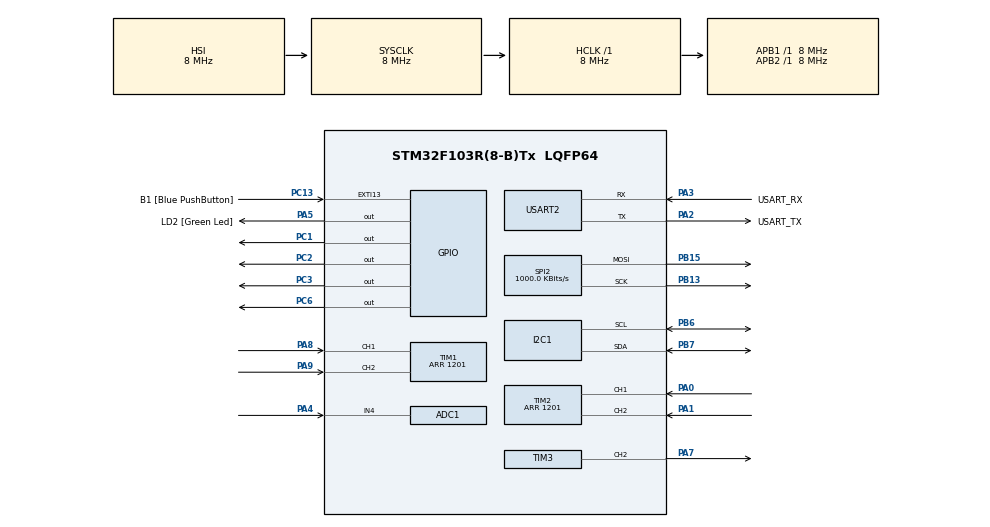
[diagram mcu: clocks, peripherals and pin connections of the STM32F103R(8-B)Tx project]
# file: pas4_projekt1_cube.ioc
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Mcu.Family=STM32F1
PA2.GPIO_PuPd=GPIO_NOPULL
SPI2.VirtualType=VM_MASTER
ADC1.ContinuousConvMode=ENABLE
PA14.GPIO_Label=TCK
PA3.GPIO_PuPd=GPIO_NOPULL
PA2.GPIO_Speed=GPIO_SPEED_FREQ_LOW
TIM1.EncoderMode=TIM_ENCODERMODE_TI12
TIM2.EncoderMode=TIM_ENCODERMODE_TI12
PA3.GPIO_Speed=GPIO_SPEED_FREQ_LOW
PB13.Signal=SPI2_SCK
PB15.Signal=SPI2_MOSI
ProjectManager.StackSize=0x400
PD1-OSC_OUT.Signal=RCC_OSC_OUT
RCC.HCLKFreq_Value=8000000
RCC.APB2TimFreq_Value=8000000
TIM3.Period=999
PB6.Signal=I2C1_SCL
PB6.Mode=I2C
PC3.Signal=GPIO_Output
RCC.AHBFreq_Value=8000000
SPI2.BaudRatePrescaler=SPI_BAUDRATEPRESCALER_8
NVIC.EXTI15_10_IRQn=true\:0\:0\:false\:false\:true\:true\:true
ADC1.Channel-0\#ChannelRegularConversion=ADC_CHANNEL_4
RCC.RTCClockSelection=RCC_RTCCLKSOURCE_LSE
RCC.PLLMUL=RCC_PLL_MUL16
PC14-OSC32_IN.Mode=LSE-External-Oscillator
PA14.Mode=Serial_Wire
TIM3.Prescaler=799
PA5.GPIO_PuPd=GPIO_NOPULL
SPI2.CalculateBaudRate=1000.0 KBits/s
PB7.Signal=I2C1_SDA
PA8.Signal=S_TIM1_CH1
ADC1.SamplingTime-0\#ChannelRegularConversion=ADC_SAMPLETIME_13CYCLES_5
Mcu.Package=LQFP64
SPI2.Mode=SPI_MODE_MASTER
USART2.VirtualMode=VM_ASYNC
PC13-TAMPER-RTC.GPIO_PuPd=GPIO_NOPULL
PA2.GPIO_Label=USART_TX
RCC.APB1TimFreq_Value=8000000
TIM3.Pulse-PWM\ Generation2\ CH2=0
SPI2.Direction=SPI_DIRECTION_2LINES
TIM1.Period=1201
PB13.Mode=TX_Only_Simplex_Unidirect_Master
VP_TIM3_VS_ClockSourceINT.Mode=Internal
PA3.Signal=USART2_RX
PA2.GPIO_Mode=GPIO_MODE_AF_PP
PB3.GPIO_Label=SWO
PC15-OSC32_OUT.Mode=LSE-External-Oscillator
ADC1.Rank-0\#ChannelRegularConversion=1
PD1-OSC_OUT.Mode=HSE-External-Clock-Source
TIM2.IC1Filter=15
PC2.Signal=GPIO_Output
PC6.Signal=GPIO_Output
PC13-TAMPER-RTC.Signal=GPXTI13
PD0-OSC_IN.Signal=RCC_OSC_IN
PC14-OSC32_IN.Signal=RCC_OSC32_IN
PA0-WKUP.Signal=S_TIM2_CH1_ETR
PA13.Signal=SYS_JTMS-SWDIO
PA3.Mode=Asynchronous
SH.S_TIM2_CH2.0=TIM2_CH2,Encoder_Interface
SH.S_TIM1_CH1.0=TIM1_CH1,Encoder_Interface
ProjectManager.TargetToolchain=STM32CubeIDE
SPI2.CRCCalculation=SPI_CRCCALCULATION_DISABLE
PA3.GPIO_Mode=GPIO_MODE_AF_PP
PA9.Signal=S_TIM1_CH2
RCC.USBFreq_Value=64000000
PC15-OSC32_OUT.Signal=RCC_OSC32_OUT
PA1.Signal=S_TIM2_CH2
PD0-OSC_IN.Mode=HSE-External-Clock-Source
PA5.Signal=GPIO_Output
SH.S_TIM3_CH2.0=TIM3_CH2,PWM Generation2 CH2
board=NUCLEO-F103RB
PC13-TAMPER-RTC.GPIO_Label=B1 [Blue PushButton]
PB15.Mode=TX_Only_Simplex_Unidirect_Master
NVIC.TIM3_IRQn=true\:0\:0\:false\:false\:true\:true\:true
RCC.APB2Freq_Value=8000000
PA5.GPIO_ModeDefaultOutputPP=GPIO_MODE_OUTPUT_PP
SH.S_TIM1_CH2.0=TIM1_CH2,Encoder_Interface
TIM1.IC2Filter=15
SH.ADCx_IN4.0=ADC1_IN4,IN4
TIM2.Period=1201
PA13.Mode=Serial_Wire
Mcu.Name=STM32F103R(8-B)Tx
PA2.Signal=USART2_TX
PA13.GPIO_Label=TMS
PB3.Signal=SYS_JTDO-TRACESWO
PA4.Signal=ADCx_IN4
RCC.SYSCLKFreq_VALUE=8000000
ADC1.master=1
PA5.GPIO_Label=LD2 [Green Led]
TIM1.IC1Filter=15
PB7.Mode=I2C
SH.S_TIM2_CH1_ETR.0=TIM2_CH1,Encoder_Interface
PA14.Signal=SYS_JTCK-SWCLK
ProjectManager.HeapSize=0x200
PA5.GPIO_Speed=GPIO_SPEED_FREQ_LOW
NVIC.PriorityGroup=NVIC_PRIORITYGROUP_4
ADC1.NbrOfConversionFlag=1
TIM3.Channel-PWM\ Generation2\ CH2=TIM_CHANNEL_2
PA2.Mode=Asynchronous
RCC.APB1Freq_Value=8000000
PC1.Signal=GPIO_Output
TIM2.IC2Filter=15
PA3.GPIO_Label=USART_RX
PA7.Signal=S_TIM3_CH2

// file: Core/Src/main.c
/* USER CODE BEGIN Header */
/**
 ******************************************************************************
 * @file           : main.c
 * @brief          : Main program body
 ******************************************************************************
 * @attention
 *
 * <h2><center>&copy; Copyright (c) 2021 STMicroelectronics.
 * All rights reserved.</center></h2>
 *
 * This software component is licensed by ST under BSD 3-Clause license,
 * the "License"; You may not use this file except in compliance with the
 * License. You may obtain a copy of the License at:
 *                        opensource.org/licenses/BSD-3-Clause
 *
 ******************************************************************************
 */
/* USER CODE END Header */
#include "main.h"

/* USER CODE BEGIN Includes */
#include <stdint.h>
#include "stm32f1xx.h"
#include "lcd.h"
#include <stdio.h>
#include <math.h>
/* USER CODE END Includes */

/* USER CODE BEGIN PD */
#define ACC_ADDRESS 0x3a // binarnie 00111010 odczytane z dokumentacji tabela 16
#define ACC_CTRL1 0x20
#define ACC_X				0x28
#define ACC_Y				0x2a
#define ACC_Z				0x2c
/* USER CODE END PD */

ADC_HandleTypeDef hadc1;

I2C_HandleTypeDef hi2c1;

SPI_HandleTypeDef hspi2;

TIM_HandleTypeDef htim1;
TIM_HandleTypeDef htim2;
TIM_HandleTypeDef htim3;

UART_HandleTypeDef huart2;

/* USER CODE BEGIN PV */
volatile uint16_t pulse_count_1;
volatile uint16_t pulse_count_2;
char napis1[] = "pos:+000,+000"; //pozycja
char napis2[] = "rot:+000.0 deg"; //rotacja
char napis3[] = "vel:+00.0 mm/s"; //predkosc
char napis4[] = "w: +0.000 1/s"; //katowa
char napis5[] = "a+000.0A+000.0";
char napis6[] = "time: 000.0 s"; //czas
uint8_t i; // zmienna do zmiany trybu
uint32_t time = 0;
uint16_t sec = 0;
int16_t rot_e = 0; //zmienne do wyświetlanaia na ekran
int16_t ang_e = 0;
int16_t acc_e;
int16_t acc_a_e;
int16_t x_e;
uint8_t is_acc_ready = 0;
int16_t y_e;
int16_t dp1, dp2;
int16_t v_e;
uint16_t milsec = 0;
double velocity = 0;
double angular_velocity = 0;
double acceleration;
int32_t acc_acceleration; //przyspieszenie wypadkowe z akcelerometru
double x_n;
double y_n;
double rot;
double rot_d;
double delta_D;
double delta_rot;
double delta_v;
double last_rot;
double last_v;
double D, Dl, Dp, D_last;
float a_x_c, a_y_c;
float delta_a_x_c, delta_a_y_c;
float last_a_x_c, last_a_y_c;
int16_t last_state_1 = 0;
int16_t last_state_2 = 0;
uint32_t napiecie1;
int16_t a_x;
int16_t a_y;
double d_kola = 32; // w mm
double rozstaw = 149;
/* USER CODE END PV */

void SystemClock_Config(void);
static void MX_GPIO_Init(void);
static void MX_USART2_UART_Init(void);
static void MX_TIM1_Init(void);
static void MX_TIM2_Init(void);
static void MX_SPI2_Init(void);
static void MX_TIM3_Init(void);
static void MX_ADC1_Init(void);
static void MX_I2C1_Init(void);

/* USER CODE BEGIN PFP */
uint8_t I2C_odczyt_rejestru(uint8_t rejestr);
int16_t I2C_odczyt_wartosci(uint8_t rejestr);
void I2C_zapis_rejestr(uint8_t rejestr, uint8_t value);

void HAL_TIM_PeriodElapsedCallback(TIM_HandleTypeDef *htim) { //przerwanie timer 3
	if (htim->Instance == TIM3) { // Jeżeli przerwanie pochodzi od timera nr. 3
		time++; //zliczam czas z dokładnośćia do 0.1 s
		angular_velocity = delta_rot / 0.1;
		velocity = delta_D / 0.1;
		delta_v = velocity - last_v;
		acceleration = delta_v / 0.1;
		delta_rot = 0;
		delta_D = 0;
		last_v = velocity;
		//odczyt danych z acc
		a_x = I2C_odczyt_wartosci(ACC_X);
		a_y = I2C_odczyt_wartosci(ACC_Y);
		a_x_c = a_x * 2.0 / 32678.0;
		a_y_c = a_y * 2.0 / 32678.0;
		//z budowy akcelerometru wynika ze os y akcelerometru pokrywa się z osią x odometrii podobnie jest z osią x,y. Oś Z jest nieistotna
		delta_a_x_c = a_x_c - last_a_x_c;
		delta_a_y_c = a_y_c - last_a_y_c;
		acc_acceleration = (int) (sqrt(
				delta_a_x_c * delta_a_x_c + delta_a_y_c * delta_a_y_c) * 9810);
		if (delta_a_y_c < 0)
			acc_acceleration = acc_acceleration * -1;
		last_a_x_c = a_x_c;
		last_a_y_c = a_y_c;
	}

}
uint8_t I2C_odczyt_rejestru(uint8_t rejestr) //dla wygody aby podawać tylko rejestr który chce odczytac
{
	uint8_t value = 0;
	HAL_I2C_Mem_Read(&hi2c1, ACC_ADDRESS, rejestr, 1, &value, sizeof(value),
	HAL_MAX_DELAY);
	return value;
}
int16_t I2C_odczyt_wartosci(uint8_t rejestr) {
	int16_t value = 0;

	HAL_I2C_Mem_Read(&hi2c1, ACC_ADDRESS, rejestr | 0x80, 1, (uint8_t*) &value,
			sizeof(value), HAL_MAX_DELAY);

	return value;
}

void I2C_zapis_rejestr(uint8_t rejestr, uint8_t value) {
	HAL_I2C_Mem_Write(&hi2c1, ACC_ADDRESS, rejestr, 1, &value, sizeof(value),
	HAL_MAX_DELAY);
}

/* USER CODE END PFP */

int main(void) {

	/* MCU Configuration--------------------------------------------------------*/

	/* Reset of all peripherals, Initializes the Flash interface and the Systick. */
	HAL_Init();

	/* Configure the system clock */
	SystemClock_Config();

	/* Initialize all configured peripherals */
	MX_GPIO_Init();
	MX_USART2_UART_Init();
	MX_TIM1_Init();
	MX_TIM2_Init();
	MX_SPI2_Init();
	MX_TIM3_Init();
	MX_ADC1_Init();
	MX_I2C1_Init();
	/* USER CODE BEGIN 2 */
	HAL_TIM_Encoder_Start(&htim1, TIM_CHANNEL_ALL);
	HAL_TIM_Encoder_Start(&htim2, TIM_CHANNEL_ALL);
	HAL_GPIO_WritePin(GPIOC, GPIO_PIN_2 | GPIO_PIN_3, GPIO_PIN_SET);
	__HAL_SPI_ENABLE(&hspi2);

	HAL_TIM_PWM_Start(&htim3, TIM_CHANNEL_2);

	HAL_ADC_Start(&hadc1);

	if (I2C_odczyt_rejestru(0xf) == 0x49) //sprawdzanie czy nucleo wykryło akcelerometr
		is_acc_ready = 1;
	else
		is_acc_ready = -1;
	if (is_acc_ready == 1)
		I2C_zapis_rejestr(ACC_CTRL1, 0x40 | 0x07); // predkosc 25Hz i aktywacja odczytów z osi x, y i z
	//domyslny punkt odniesienia akcelerometru to 2g oznacza to zakres pomiarowy (-2^15, 2^15)->(-2g,2g)

	lcd_setup();
	lcd_draw_text(0, 0, "PAS 4");
	lcd_draw_text(1, 0, "Projekt nr 1");
	lcd_draw_text(2, 0, "Obs. enkoderow");
	lcd_draw_text(3, 0, "Norbert");
	lcd_draw_text(4, 0, "Prokopiuk");
	lcd_draw_text(5, 0, "299024");
	lcd_copy();
	/* USER CODE END 2 */

	/* Infinite loop */
	/* USER CODE BEGIN WHILE */
	while (1) {
		if (HAL_GPIO_ReadPin(GPIOC, GPIO_PIN_13) == GPIO_PIN_RESET) {
			i++;
			HAL_TIM_Base_Start_IT(&htim3);
			HAL_GPIO_WritePin(GPIOA, GPIO_PIN_5, GPIO_PIN_SET);
			if (i > 1)
				i = 0;
		}
		if (i >= 1) {
			pulse_count_1 = TIM1->CNT;
			pulse_count_2 = TIM2->CNT;
			napiecie1 = HAL_ADC_GetValue(&hadc1);
			if (napiecie1 <= 310)
				TIM3->CCR2 = 999;
			else
				TIM3->CCR2 = 0;

			if ((pulse_count_1 != last_state_1 || pulse_count_2 != last_state_2)) {

				dp1 = (pulse_count_1 - last_state_1) % 100;
				dp2 = (pulse_count_2 - last_state_2) % 100;

				Dl = Dl + (3.1415 * dp1) * d_kola / 1200;
				Dp = Dp + (3.1415 * dp2) * d_kola / 1200;

				D = (Dl + Dp) / 2;
				rot = (Dp - Dl) / rozstaw;
				delta_rot = rot - last_rot;
				if (rot >= 2 * 3.1415) {
					rot = rot - 2 * 3.1415;
				}
				rot_d = rot * 180 / 3.1415;
				delta_D = D - D_last;
				x_n = x_n + (D - D_last) * cos(rot);
				y_n = y_n + (D - D_last) * sin(rot);
				last_rot = rot;
			}

			//obliczanie czasu i innych zmiennych do aktualizacji napisów
			//pozycja
			x_e = (int) x_n;
			y_e = (int) y_n;

			//predkosc

			v_e = (int) velocity * 10;

			//czas
			milsec = time % 10;
			sec = (time - milsec) / 10;

			//rotacja
			rot_e = (int) 10 * rot_d;

			if (rot_e >= 1800)
				rot_e = rot_e - 3600;
			else if (rot_e <= -1800)
				rot_e = rot_e + 3600;

			if (rot_e >= 0)
				napis2[4] = '+';
			else
				napis2[4] = '-';

			rot_e = abs(rot_e);
			//predkosc katowa

			ang_e = (int) 1000 * angular_velocity;

			//aktualizacja opisow
			//pozycja
			if (x_e >= 0)
				napis1[4] = '+';
			else
				napis1[4] = '-';
			if (y_e >= 0)
				napis1[9] = '+';
			else
				napis1[9] = '-';
			x_e = abs(x_e);
			y_e = abs(y_e);
			//x
			napis1[5] = '0' + (x_e - x_e % 100) / 100;
			napis1[6] = '0' + (x_e % 100 - x_e % 10) / 10;
			napis1[7] = '0' + x_e % 10;
			//y
			napis1[10] = '0' + (y_e - y_e % 100) / 100;
			napis1[11] = '0' + (y_e % 100 - y_e % 10) / 10;
			napis1[12] = '0' + y_e % 10;

			//predkosc
			if (v_e >= 0)
				napis3[4] = '+';
			else
				napis3[4] = '-';
			v_e = abs(v_e);
			napis3[5] = '0' + (v_e - v_e % 100) / 100;
			napis3[6] = '0' + (v_e % 100 - v_e % 10) / 10;
			napis3[8] = '0' + v_e % 10;

			//rotacja
			napis2[5] = '0' + (rot_e - rot_e % 1000) / 1000;
			napis2[6] = '0' + (rot_e % 1000 - rot_e % 100) / 100;
			napis2[7] = '0' + (rot_e % 100 - rot_e % 10) / 10;
			napis2[9] = '0' + rot_e % 10;

			//predkosc katowa
			if (ang_e == 0) {
				napis4[3] = '+';
				napis4[4] = '0';
				napis4[6] = '0';
				napis4[7] = '0';
				napis4[8] = '0';
			} else {
				if (ang_e >= 0)
					napis4[3] = '+';
				else
					napis4[3] = '-';
				ang_e = abs(ang_e);
				napis4[6] = '0' + (ang_e - ang_e % 100) / 100;
				napis4[7] = '0' + (ang_e % 100 - ang_e % 10) / 10;
				napis4[8] = '0' + ang_e % 10;
			}
			//przyspieszenia
			if (acceleration >= 0)
				napis5[1] = '+';
			else
				napis5[1] = '-';
			if (acc_acceleration >= 0)
				napis5[8] = '+';
			else
				napis5[8] = '-';
			acc_e = abs((int) acceleration);

			//obliczone
			napis5[2] = '0' + (acc_e - acc_e % 1000) / 1000;
			napis5[3] = '0' + (acc_e % 1000 - acc_e % 100) / 100;
			napis5[4] = '0' + (acc_e % 100 - acc_e % 10) / 10;
			napis5[6] = '0' + acc_e % 10;
			acc_a_e = abs(acc_acceleration);
			napis5[9] = '0' + (acc_a_e - acc_a_e % 1000) / 1000;
			napis5[10] = '0' + (acc_a_e % 1000 - acc_a_e % 100) / 100;
			napis5[11] = '0' + (acc_a_e % 100 - acc_a_e % 10) / 10;
			napis5[13] = '0' + acc_a_e % 10;
			//czas
			napis6[8] = '0' + sec % 10;
			napis6[7] = '0' + (sec % 100 - sec % 10) / 10;
			napis6[6] = '0' + (sec - sec % 100) / 100;
			napis6[10] = '0' + milsec;

			lcd_clear();
			lcd_draw_text(0, 0, napis1);
			lcd_draw_text(1, 0, napis2);
			lcd_draw_text(2, 0, napis3);
			lcd_draw_text(3, 0, napis4);
			lcd_draw_text(4, 0, napis5);
			lcd_draw_text(5, 0, napis6);
			lcd_copy();
			last_state_1 = pulse_count_1;
			last_state_2 = pulse_count_2;
			D_last = D;

		}
		/* USER CODE END WHILE */

	}
}

void SystemClock_Config(void) {
	RCC_OscInitTypeDef RCC_OscInitStruct = { 0 };
	RCC_ClkInitTypeDef RCC_ClkInitStruct = { 0 };
	RCC_PeriphCLKInitTypeDef PeriphClkInit = { 0 };

	/** Initializes the RCC Oscillators according to the specified parameters
	 * in the RCC_OscInitTypeDef structure.
	 */
	RCC_OscInitStruct.OscillatorType = RCC_OSCILLATORTYPE_HSI;
	RCC_OscInitStruct.HSIState = RCC_HSI_ON;
	RCC_OscInitStruct.HSICalibrationValue = RCC_HSICALIBRATION_DEFAULT;
	RCC_OscInitStruct.PLL.PLLState = RCC_PLL_NONE;
	if (HAL_RCC_OscConfig(&RCC_OscInitStruct) != HAL_OK) {
		Error_Handler();
	}
	/** Initializes the CPU, AHB and APB buses clocks
	 */
	RCC_ClkInitStruct.ClockType = RCC_CLOCKTYPE_HCLK | RCC_CLOCKTYPE_SYSCLK
			| RCC_CLOCKTYPE_PCLK1 | RCC_CLOCKTYPE_PCLK2;
	RCC_ClkInitStruct.SYSCLKSource = RCC_SYSCLKSOURCE_HSI;
	RCC_ClkInitStruct.AHBCLKDivider = RCC_SYSCLK_DIV1;
	RCC_ClkInitStruct.APB1CLKDivider = RCC_HCLK_DIV1;
	RCC_ClkInitStruct.APB2CLKDivider = RCC_HCLK_DIV1;

	if (HAL_RCC_ClockConfig(&RCC_ClkInitStruct, FLASH_LATENCY_0) != HAL_OK) {
		Error_Handler();
	}
	PeriphClkInit.PeriphClockSelection = RCC_PERIPHCLK_ADC;
	PeriphClkInit.AdcClockSelection = RCC_ADCPCLK2_DIV2;
	if (HAL_RCCEx_PeriphCLKConfig(&PeriphClkInit) != HAL_OK) {
		Error_Handler();
	}
}

static void MX_ADC1_Init(void) {

	ADC_ChannelConfTypeDef sConfig = { 0 };

	/** Common config
	 */
	hadc1.Instance = ADC1;
	hadc1.Init.ScanConvMode = ADC_SCAN_DISABLE;
	hadc1.Init.ContinuousConvMode = ENABLE;
	hadc1.Init.DiscontinuousConvMode = DISABLE;
	hadc1.Init.ExternalTrigConv = ADC_SOFTWARE_START;
	hadc1.Init.DataAlign = ADC_DATAALIGN_RIGHT;
	hadc1.Init.NbrOfConversion = 1;
	if (HAL_ADC_Init(&hadc1) != HAL_OK) {
		Error_Handler();
	}
	/** Configure Regular Channel
	 */
	sConfig.Channel = ADC_CHANNEL_4;
	sConfig.Rank = ADC_REGULAR_RANK_1;
	sConfig.SamplingTime = ADC_SAMPLETIME_13CYCLES_5;
	if (HAL_ADC_ConfigChannel(&hadc1, &sConfig) != HAL_OK) {
		Error_Handler();
	}

}

static void MX_I2C1_Init(void) {

	hi2c1.Instance = I2C1;
	hi2c1.Init.ClockSpeed = 100000;
	hi2c1.Init.DutyCycle = I2C_DUTYCYCLE_2;
	hi2c1.Init.OwnAddress1 = 0;
	hi2c1.Init.AddressingMode = I2C_ADDRESSINGMODE_7BIT;
	hi2c1.Init.DualAddressMode = I2C_DUALADDRESS_DISABLE;
	hi2c1.Init.OwnAddress2 = 0;
	hi2c1.Init.GeneralCallMode = I2C_GENERALCALL_DISABLE;
	hi2c1.Init.NoStretchMode = I2C_NOSTRETCH_DISABLE;
	if (HAL_I2C_Init(&hi2c1) != HAL_OK) {
		Error_Handler();
	}

}

static void MX_SPI2_Init(void) {

	/* SPI2 parameter configuration*/
	hspi2.Instance = SPI2;
	hspi2.Init.Mode = SPI_MODE_MASTER;
	hspi2.Init.Direction = SPI_DIRECTION_2LINES;
	hspi2.Init.DataSize = SPI_DATASIZE_8BIT;
	hspi2.Init.CLKPolarity = SPI_POLARITY_LOW;
	hspi2.Init.CLKPhase = SPI_PHASE_1EDGE;
	hspi2.Init.NSS = SPI_NSS_SOFT;
	hspi2.Init.BaudRatePrescaler = SPI_BAUDRATEPRESCALER_8;
	hspi2.Init.FirstBit = SPI_FIRSTBIT_MSB;
	hspi2.Init.TIMode = SPI_TIMODE_DISABLE;
	hspi2.Init.CRCCalculation = SPI_CRCCALCULATION_DISABLE;
	hspi2.Init.CRCPolynomial = 10;
	if (HAL_SPI_Init(&hspi2) != HAL_OK) {
		Error_Handler();
	}

}

static void MX_TIM1_Init(void) {

	TIM_Encoder_InitTypeDef sConfig = { 0 };
	TIM_MasterConfigTypeDef sMasterConfig = { 0 };

	htim1.Instance = TIM1;
	htim1.Init.Prescaler = 0;
	htim1.Init.CounterMode = TIM_COUNTERMODE_UP;
	htim1.Init.Period = 1201;
	htim1.Init.ClockDivision = TIM_CLOCKDIVISION_DIV1;
	htim1.Init.RepetitionCounter = 0;
	htim1.Init.AutoReloadPreload = TIM_AUTORELOAD_PRELOAD_DISABLE;
	sConfig.EncoderMode = TIM_ENCODERMODE_TI12;
	sConfig.IC1Polarity = TIM_ICPOLARITY_RISING;
	sConfig.IC1Selection = TIM_ICSELECTION_DIRECTTI;
	sConfig.IC1Prescaler = TIM_ICPSC_DIV1;
	sConfig.IC1Filter = 15;
	sConfig.IC2Polarity = TIM_ICPOLARITY_RISING;
	sConfig.IC2Selection = TIM_ICSELECTION_DIRECTTI;
	sConfig.IC2Prescaler = TIM_ICPSC_DIV1;
	sConfig.IC2Filter = 15;
	if (HAL_TIM_Encoder_Init(&htim1, &sConfig) != HAL_OK) {
		Error_Handler();
	}
	sMasterConfig.MasterOutputTrigger = TIM_TRGO_RESET;
	sMasterConfig.MasterSlaveMode = TIM_MASTERSLAVEMODE_DISABLE;
	if (HAL_TIMEx_MasterConfigSynchronization(&htim1, &sMasterConfig)
			!= HAL_OK) {
		Error_Handler();
	}

}

static void MX_TIM2_Init(void) {

	TIM_Encoder_InitTypeDef sConfig = { 0 };
	TIM_MasterConfigTypeDef sMasterConfig = { 0 };

	htim2.Instance = TIM2;
	htim2.Init.Prescaler = 0;
	htim2.Init.CounterMode = TIM_COUNTERMODE_UP;
	htim2.Init.Period = 1201;
	htim2.Init.ClockDivision = TIM_CLOCKDIVISION_DIV1;
	htim2.Init.AutoReloadPreload = TIM_AUTORELOAD_PRELOAD_DISABLE;
	sConfig.EncoderMode = TIM_ENCODERMODE_TI12;
	sConfig.IC1Polarity = TIM_ICPOLARITY_RISING;
	sConfig.IC1Selection = TIM_ICSELECTION_DIRECTTI;
	sConfig.IC1Prescaler = TIM_ICPSC_DIV1;
	sConfig.IC1Filter = 15;
	sConfig.IC2Polarity = TIM_ICPOLARITY_RISING;
	sConfig.IC2Selection = TIM_ICSELECTION_DIRECTTI;
	sConfig.IC2Prescaler = TIM_ICPSC_DIV1;
	sConfig.IC2Filter = 15;
	if (HAL_TIM_Encoder_Init(&htim2, &sConfig) != HAL_OK) {
		Error_Handler();
	}
	sMasterConfig.MasterOutputTrigger = TIM_TRGO_RESET;
	sMasterConfig.MasterSlaveMode = TIM_MASTERSLAVEMODE_DISABLE;
	if (HAL_TIMEx_MasterConfigSynchronization(&htim2, &sMasterConfig)
			!= HAL_OK) {
		Error_Handler();
	}

}

static void MX_TIM3_Init(void) {

	TIM_ClockConfigTypeDef sClockSourceConfig = { 0 };
	TIM_MasterConfigTypeDef sMasterConfig = { 0 };
	TIM_OC_InitTypeDef sConfigOC = { 0 };

	htim3.Instance = TIM3;
	htim3.Init.Prescaler = 799;
	htim3.Init.CounterMode = TIM_COUNTERMODE_UP;
	htim3.Init.Period = 999;
	htim3.Init.ClockDivision = TIM_CLOCKDIVISION_DIV1;
	htim3.Init.AutoReloadPreload = TIM_AUTORELOAD_PRELOAD_DISABLE;
	if (HAL_TIM_Base_Init(&htim3) != HAL_OK) {
		Error_Handler();
	}
	sClockSourceConfig.ClockSource = TIM_CLOCKSOURCE_INTERNAL;
	if (HAL_TIM_ConfigClockSource(&htim3, &sClockSourceConfig) != HAL_OK) {
		Error_Handler();
	}
	if (HAL_TIM_PWM_Init(&htim3) != HAL_OK) {
		Error_Handler();
	}
	sMasterConfig.MasterOutputTrigger = TIM_TRGO_RESET;
	sMasterConfig.MasterSlaveMode = TIM_MASTERSLAVEMODE_DISABLE;
	if (HAL_TIMEx_MasterConfigSynchronization(&htim3, &sMasterConfig)
			!= HAL_OK) {
		Error_Handler();
	}
	sConfigOC.OCMode = TIM_OCMODE_PWM1;
	sConfigOC.Pulse = 0;
	sConfigOC.OCPolarity = TIM_OCPOLARITY_HIGH;
	sConfigOC.OCFastMode = TIM_OCFAST_DISABLE;
	if (HAL_TIM_PWM_ConfigChannel(&htim3, &sConfigOC, TIM_CHANNEL_2)
			!= HAL_OK) {
		Error_Handler();
	}
	HAL_TIM_MspPostInit(&htim3);

}

static void MX_USART2_UART_Init(void) {

	huart2.Instance = USART2;
	huart2.Init.BaudRate = 115200;
	huart2.Init.WordLength = UART_WORDLENGTH_8B;
	huart2.Init.StopBits = UART_STOPBITS_1;
	huart2.Init.Parity = UART_PARITY_NONE;
	huart2.Init.Mode = UART_MODE_TX_RX;
	huart2.Init.HwFlowCtl = UART_HWCONTROL_NONE;
	huart2.Init.OverSampling = UART_OVERSAMPLING_16;
	if (HAL_UART_Init(&huart2) != HAL_OK) {
		Error_Handler();
	}

}

static void MX_GPIO_Init(void) {
	GPIO_InitTypeDef GPIO_InitStruct = { 0 };

	/* GPIO Ports Clock Enable */
	__HAL_RCC_GPIOC_CLK_ENABLE();
	__HAL_RCC_GPIOD_CLK_ENABLE();
	__HAL_RCC_GPIOA_CLK_ENABLE();
	__HAL_RCC_GPIOB_CLK_ENABLE();

	/*Configure GPIO pin Output Level */
	HAL_GPIO_WritePin(GPIOC, GPIO_PIN_1 | GPIO_PIN_2 | GPIO_PIN_3 | GPIO_PIN_6,
			GPIO_PIN_RESET);

	/*Configure GPIO pin Output Level */
	HAL_GPIO_WritePin(LD2_GPIO_Port, LD2_Pin, GPIO_PIN_RESET);

	/*Configure GPIO pin : B1_Pin */
	GPIO_InitStruct.Pin = B1_Pin;
	GPIO_InitStruct.Mode = GPIO_MODE_IT_RISING;
	GPIO_InitStruct.Pull = GPIO_NOPULL;
	HAL_GPIO_Init(B1_GPIO_Port, &GPIO_InitStruct);

	/*Configure GPIO pins : PC1 PC2 PC3 PC6 */
	GPIO_InitStruct.Pin = GPIO_PIN_1 | GPIO_PIN_2 | GPIO_PIN_3 | GPIO_PIN_6;
	GPIO_InitStruct.Mode = GPIO_MODE_OUTPUT_PP;
	GPIO_InitStruct.Pull = GPIO_NOPULL;
	GPIO_InitStruct.Speed = GPIO_SPEED_FREQ_LOW;
	HAL_GPIO_Init(GPIOC, &GPIO_InitStruct);

	/*Configure GPIO pin : LD2_Pin */
	GPIO_InitStruct.Pin = LD2_Pin;
	GPIO_InitStruct.Mode = GPIO_MODE_OUTPUT_PP;
	GPIO_InitStruct.Pull = GPIO_NOPULL;
	GPIO_InitStruct.Speed = GPIO_SPEED_FREQ_LOW;
	HAL_GPIO_Init(LD2_GPIO_Port, &GPIO_InitStruct);

	/* EXTI interrupt init*/
	HAL_NVIC_SetPriority(EXTI15_10_IRQn, 0, 0);
	HAL_NVIC_EnableIRQ(EXTI15_10_IRQn);

}

void Error_Handler(void) {
	__disable_irq();
	while (1) {
	}
}

/************************ (C) COPYRIGHT STMicroelectronics *****END OF FILE****/
